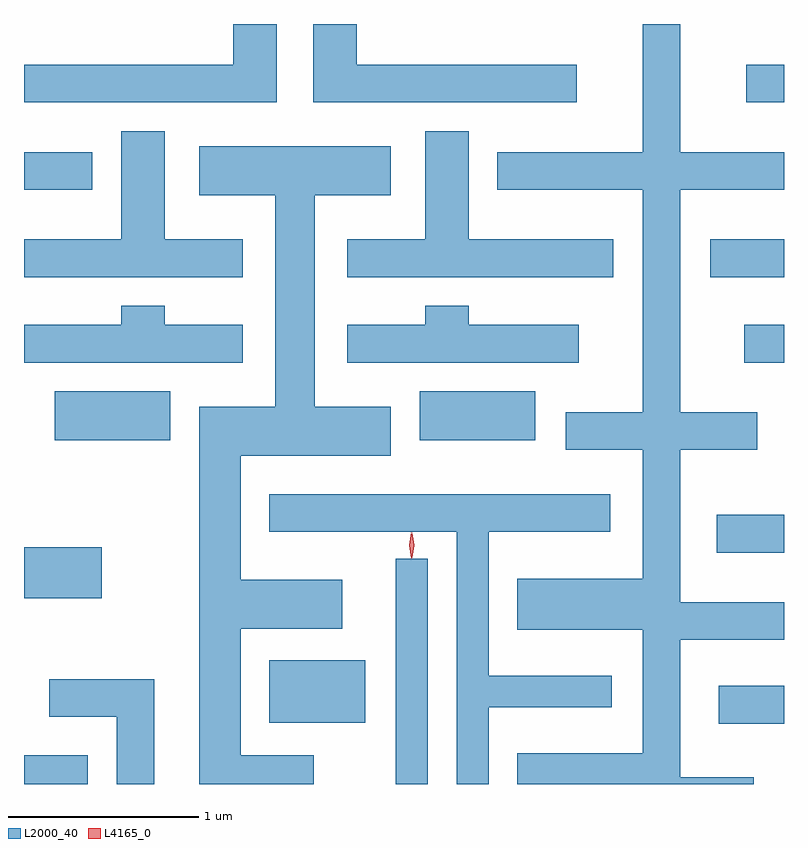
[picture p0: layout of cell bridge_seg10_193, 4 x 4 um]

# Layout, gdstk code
import gdstk
lib = gdstk.Library(unit=1e-6, precision=1e-09)
def R(c, l, rs):  # rectangles x0, y0, x1, y1
    for r in rs: c.add(gdstk.rectangle(r[:2], r[2:], *l))
def P(c, l, *ps):  # polygons
    for p in ps: c.add(gdstk.Polygon(p, *l))
L2000_40 = (2000, 40)
L4165_0 = (4165, 0)

bridge_seg10_193 = lib.new_cell('bridge_seg10_193')
R(bridge_seg10_193, L2000_40, [(1792.834,2140.988,1793.169,2141.139), (1794.791,2140.988,1794.959,2142.173), (1796.491,2141.306,1796.834,2141.504), (1794.126,2141.311,1794.629,2141.639), (1792.834,2141.966,1793.244,2142.234), (1796.481,2142.206,1796.834,2142.404), (1792.996,2142.796,1793.604,2143.054), (1794.916,2142.796,1795.524,2143.054), (1796.626,2143.206,1796.834,2143.404), (1796.446,2143.656,1796.834,2143.854), (1792.834,2144.116,1793.194,2144.314), (1796.636,2144.576,1796.834,2144.774)])
P(bridge_seg10_193, L2000_40, [(1796.674,2141.024),(1796.289,2141.024),(1796.289,2141.746),(1796.834,2141.746),(1796.834,2141.944),(1796.289,2141.944),(1796.289,2142.746),(1796.694,2142.746),(1796.694,2142.944),(1796.289,2142.944),(1796.289,2144.116),(1796.834,2144.116),(1796.834,2144.314),(1796.289,2144.314),(1796.289,2144.988),(1796.091,2144.988),(1796.091,2144.314),(1795.326,2144.314),(1795.326,2144.116),(1796.091,2144.116),(1796.091,2142.944),(1795.686,2142.944),(1795.686,2142.746),(1796.091,2142.746),(1796.091,2142.069),(1795.431,2142.069),(1795.431,2141.801),(1796.091,2141.801),(1796.091,2141.149),(1795.431,2141.149),(1795.431,2140.988),(1796.674,2140.988)],
  [(1794.164,2144.988),(1793.936,2144.988),(1793.936,2144.774),(1792.834,2144.774),(1792.834,2144.576),(1794.164,2144.576)],
  [(1795.744,2144.774),(1794.584,2144.774),(1794.584,2144.988),(1794.356,2144.988),(1794.356,2144.576),(1795.744,2144.576)],
  [(1795.934,2143.854),(1795.174,2143.854),(1795.174,2144.424),(1794.946,2144.424),(1794.946,2143.854),(1794.536,2143.854),(1794.536,2143.656),(1795.934,2143.656)],
  [(1793.984,2143.854),(1793.574,2143.854),(1793.574,2144.424),(1793.346,2144.424),(1793.346,2143.854),(1792.834,2143.854),(1792.834,2143.656),(1793.984,2143.656)],
  [(1794.359,2141.139),(1793.974,2141.139),(1793.974,2141.806),(1794.509,2141.806),(1794.509,2142.064),(1793.974,2142.064),(1793.974,2142.716),(1794.764,2142.716),(1794.764,2142.974),(1794.364,2142.974),(1794.364,2144.086),(1794.764,2144.086),(1794.764,2144.344),(1793.756,2144.344),(1793.756,2144.086),(1794.156,2144.086),(1794.156,2142.974),(1793.756,2142.974),(1793.756,2140.988),(1794.359,2140.988)],
  [(1793.984,2143.404),(1793.574,2143.404),(1793.574,2143.504),(1793.346,2143.504),(1793.346,2143.404),(1792.834,2143.404),(1792.834,2143.206),(1793.984,2143.206)],
  [(1795.754,2143.404),(1795.174,2143.404),(1795.174,2143.504),(1794.946,2143.504),(1794.946,2143.404),(1794.536,2143.404),(1794.536,2143.206),(1795.754,2143.206)],
  [(1795.279,2141.391),(1795.928,2141.391),(1795.928,2141.559),(1795.279,2141.559),(1795.279,2142.316),(1795.919,2142.316),(1795.919,2142.514),(1794.126,2142.514),(1794.126,2142.316),(1795.111,2142.316),(1795.111,2140.988),(1795.279,2140.988)],
  [(1793.519,2141.539),(1792.966,2141.539),(1792.966,2141.341),(1793.321,2141.341),(1793.321,2140.988),(1793.519,2140.988)])
P(bridge_seg10_193, L4165_0, [(1794.876,2142.178),(1794.867,2142.244),(1794.877,2142.31),(1794.877,2142.311),(1794.878,2142.31),(1794.887,2142.244),(1794.877,2142.178),(1794.877,2142.178)],
  [(1794.872,2142.174),(1794.872,2142.175),(1794.862,2142.244),(1794.872,2142.313),(1794.872,2142.314),(1794.873,2142.313),(1794.882,2142.244),(1794.873,2142.175)])

lib.write_gds('bridge_seg10_193.gds')
